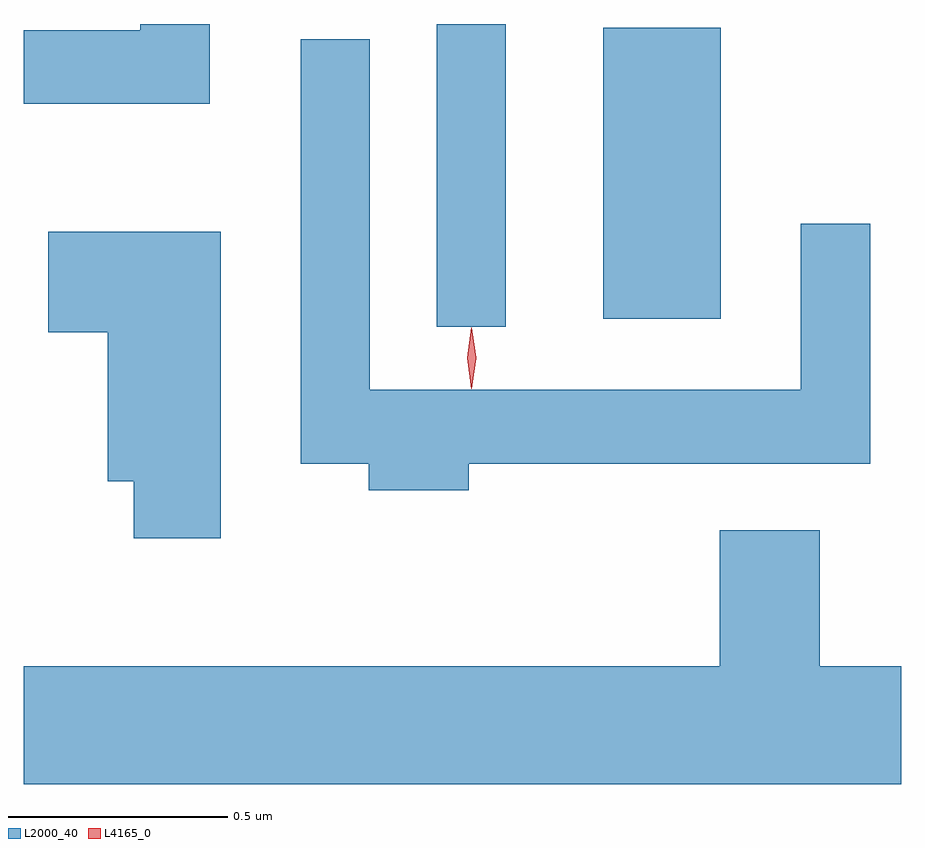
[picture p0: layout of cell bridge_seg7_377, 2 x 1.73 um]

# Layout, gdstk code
import gdstk
lib = gdstk.Library(unit=1e-6, precision=1e-09)
def R(c, l, rs):  # rectangles x0, y0, x1, y1
    for r in rs: c.add(gdstk.rectangle(r[:2], r[2:], *l))
def P(c, l, *ps):  # polygons
    for p in ps: c.add(gdstk.Polygon(p, *l))
L2000_40 = (2000, 40)
L4165_0 = (4165, 0)

bridge_seg7_377 = lib.new_cell('bridge_seg7_377')
R(bridge_seg7_377, L2000_40, [(1176.876,1770.858,1177.034,1771.548), (1177.256,1770.876,1177.524,1771.539)])
P(bridge_seg7_377, L2000_40, [(1176.359,1771.548),(1176.201,1771.548),(1176.201,1771.534),(1175.935,1771.534),(1175.935,1771.366),(1176.359,1771.366)],
  [(1176.949,1770.546),(1177.864,1770.546),(1177.864,1771.093),(1177.706,1771.093),(1177.706,1770.714),(1176.724,1770.714),(1176.724,1771.513),(1176.566,1771.513),(1176.566,1770.546),(1176.721,1770.546),(1176.721,1770.486),(1176.949,1770.486)],
  [(1176.384,1771.074),(1175.991,1771.074),(1175.991,1770.846),(1176.126,1770.846),(1176.126,1770.506),(1176.186,1770.506),(1176.186,1770.376),(1176.384,1770.376)],
  [(1177.935,1770.084),(1177.749,1770.084),(1177.749,1770.394),(1177.521,1770.394),(1177.521,1770.084),(1175.935,1770.084),(1175.935,1769.816),(1177.935,1769.816)])
P(bridge_seg7_377, L4165_0, [(1176.955,1770.717),(1176.946,1770.787),(1176.955,1770.856),(1176.956,1770.856),(1176.956,1770.856),(1176.966,1770.787),(1176.956,1770.717),(1176.956,1770.717)],
  [(1176.956,1770.719),(1176.955,1770.72),(1176.946,1770.786),(1176.955,1770.852),(1176.956,1770.853),(1176.956,1770.852),(1176.966,1770.786),(1176.956,1770.72)])

lib.write_gds('bridge_seg7_377.gds')
